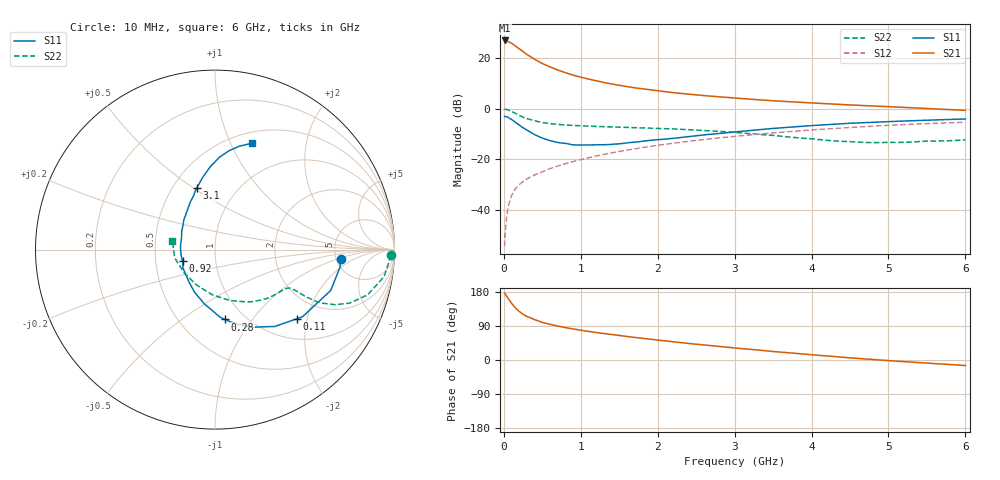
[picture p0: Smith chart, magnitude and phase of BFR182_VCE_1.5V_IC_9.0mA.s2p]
! Infineon Technologies  Discrete & RF Semiconductors
! BFR182
! VCE =  1.5 V,  IC =  9.0 mA
! Common Emitter S-Parameters:  Nov 2015
# GHz  S  MA  R  50
!  f  S11  S21  S12  S22
! GHz  MAG  ANG  MAG  ANG  MAG  ANG  MAG  ANG
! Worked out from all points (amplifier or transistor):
!   210 points, 10 MHz to 6 GHz, reference 50 ohm
!   highest |S21| = 27.0 dB at 10 MHz (marker M1)
!   |S21| within 3 dB of that: start of sweep to 186.6 MHz
!   unconditionally stable (mu >= 1): 767.5 MHz to 2.713 GHz
!   at 185 MHz: K = 0.49, MSG = 27.3 dB, |S12| = -30.5 dB
!   at 1.52 GHz: K = 1.06, MAG = 11.5 dB, |S12| = -16.8 dB
!   at 6 GHz: K = 0.91, MSG = 2.4 dB, |S12| = -5.4 dB
!   S11 on the Smith chart (normalised r, x): 10 MHz: 5.47, -1.11; 110 MHz: 1.45, -1.74; 280 MHz: 0.81, -0.75; 920 MHz: 0.69, -0.09; 3.1 GHz: 0.66, +0.52; 6 GHz: 0.62, +1.20
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0.01  0.7018 -4.2  22.4 176.7  0.0019 79.3  0.9786 -1.8
0.025  0.6985 -9.8  21.98 171.7  0.0049 83.7  0.9693 -4.6
0.05  0.6835 -19.5  21.63 163.8  0.0102 81.0  0.9537 -9.1
0.1  0.6145 -37.5  19.84 149.5  0.0189 73.1  0.8872 -16.5
0.11  0.5973 -40.1  19.28 147.3  0.0203 72.1  0.871 -17.4
0.15  0.5427 -52.1  17.4 137.2  0.026 69.1  0.8089 -21.6
0.2  0.4768 -65.2  15.35 127.9  0.0314 66.2  0.7381 -24.6
0.24  0.429 -74.1  13.8 122.1  0.0352 64.5  0.6904 -25.9
0.28  0.3931 -81.8  12.45 117.3  0.0389 64.2  0.6521 -26.8
0.3  0.3779 -85.6  11.82 114.9  0.0407 64.3  0.6345 -27.1
0.4  0.3067 -101.5  9.507 106.4  0.0488 64.4  0.574 -27.4
0.5  0.2626 -115.8  7.832 99.2  0.0564 64.7  0.5319 -27.2
0.6  0.2331 -127.9  6.702 94.0  0.0652 65.6  0.5053 -26.9
0.7  0.2147 -139.3  5.83 89.4  0.0731 66.4  0.4886 -27.0
0.92  0.1918 -160.7  4.532 81.1  0.0916 66.6  0.4652 -27.4
1.02  0.1909 -170.5  4.129 77.9  0.1 66.9  0.4572 -28.1
1.4  0.1965 161.6  3.081 67.2  0.1331 66.0  0.4367 -31.6
2.02  0.2444 134.0  2.235 52.2  0.1899 62.2  0.408 -39.9
3.1  0.3575 106.5  1.581 29.9  0.2926 52.4  0.3294 -61.7
4.1  0.4725 92.0  1.275 12.2  0.3885 41.1  0.2441 -97.1
5.1  0.5629 80.9  1.079 -3.0  0.4764 28.7  0.2146 -147.9
6  0.6256 71.0  0.926 -14.6  0.5371 16.1  0.2419 168.4
